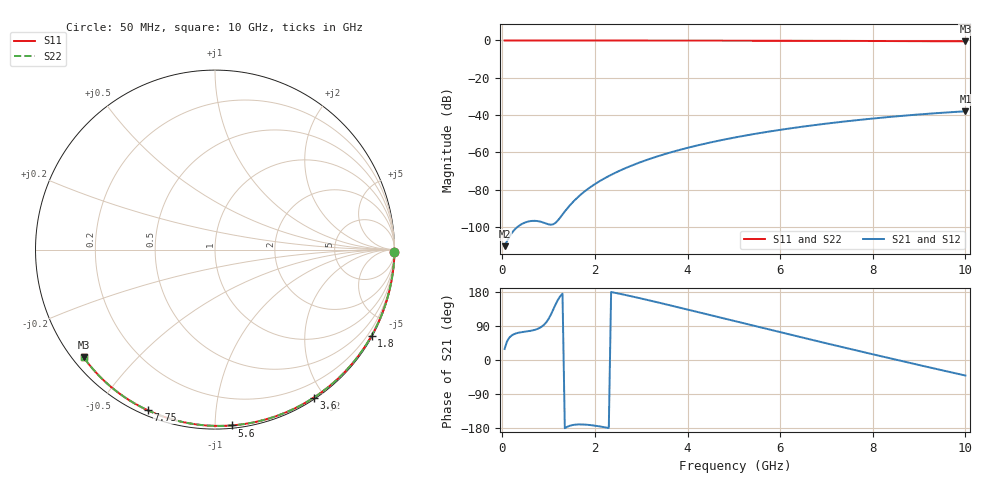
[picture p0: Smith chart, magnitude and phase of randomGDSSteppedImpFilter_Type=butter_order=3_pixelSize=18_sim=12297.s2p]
! freq	dB(S11)	phase(S11)	dB(S12)	phase(S12)
!  dB(S21)	phase(S21)	dB(S22)	phase(S22)
!S-par simulation data
#  GHz  S  DB  R 50
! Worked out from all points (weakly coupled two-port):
!   200 points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, 50 MHz to 10 GHz, reference 50 ohm
!   highest |S21| = -38.04 dB at 10 GHz (marker M1); lowest = -110.4 dB at 50 MHz (marker M2)
!   lowest |S11| = -0.5 dB at 10 GHz (marker M3), VSWR 36.36, Z = 1.55 - j17.8 ohm
!   |S11| at or under -10 dB: nowhere
!   |S22| runs from -0.5 to 0.0 dB; largest |S21 - S12| = 0
!   S11 on the Smith chart (normalised r, x): 50 MHz: open; 1.8 GHz: 0.03, -3.90; 3.6 GHz: 0.02, -1.87; 5.6 GHz: 0.02, -1.10; 7.75 GHz: 0.02, -0.67; 10 GHz: 0.03, -0.36
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0.05  -0.00 -0.8  -110.42 29.2  -110.42 29.2  -0.00 -0.8
0.45  -0.01 -7.3  -98.17 74.1  -98.17 74.1  -0.01 -7.3
0.9  -0.02 -14.5  -97.85 92.9  -97.85 92.9  -0.02 -14.5
1.75  -0.04 -28.0  -81.59 -170.2  -81.59 -170.2  -0.04 -28.0
1.8  -0.04 -28.8  -80.60 -170.6  -80.60 -170.6  -0.04 -28.8
1.85  -0.04 -29.6  -79.67 -171.1  -79.67 -171.1  -0.04 -29.6
2.05  -0.04 -32.7  -76.31 -174.2  -76.31 -174.2  -0.04 -32.7
2.25  -0.05 -35.8  -73.43 -178.3  -73.43 -178.3  -0.05 -35.8
2.55  -0.05 -40.4  -69.73 174.4  -69.73 174.4  -0.05 -40.4
2.95  -0.06 -46.5  -65.64 163.7  -65.64 163.7  -0.06 -46.5
3.4  -0.07 -53.3  -61.83 150.8  -61.83 150.8  -0.07 -53.3
3.6  -0.08 -56.2  -60.33 145.0  -60.33 145.0  -0.08 -56.2
4.3  -0.09 -66.4  -55.83 124.2  -55.83 124.2  -0.09 -66.4
5.05  -0.12 -77.0  -51.94 101.7  -51.94 101.7  -0.12 -77.0
5.6  -0.14 -84.6  -49.54 85.2  -49.54 85.2  -0.14 -84.6
6.15  -0.16 -92.0  -47.43 68.9  -47.43 68.9  -0.16 -92.0
6.7  -0.19 -99.2  -45.56 52.7  -45.56 52.7  -0.19 -99.2
7.2  -0.22 -105.7  -44.04 38.1  -44.04 38.1  -0.22 -105.7
7.75  -0.26 -112.7  -42.53 22.3  -42.53 22.3  -0.26 -112.7
8.35  -0.31 -120.2  -41.08 5.1  -41.08 5.1  -0.31 -120.2
9.2  -0.39 -130.8  -39.34 -18.9  -39.34 -18.9  -0.39 -130.8
10  -0.48 -140.7  -38.04 -41.0  -38.04 -41.0  -0.48 -140.7
